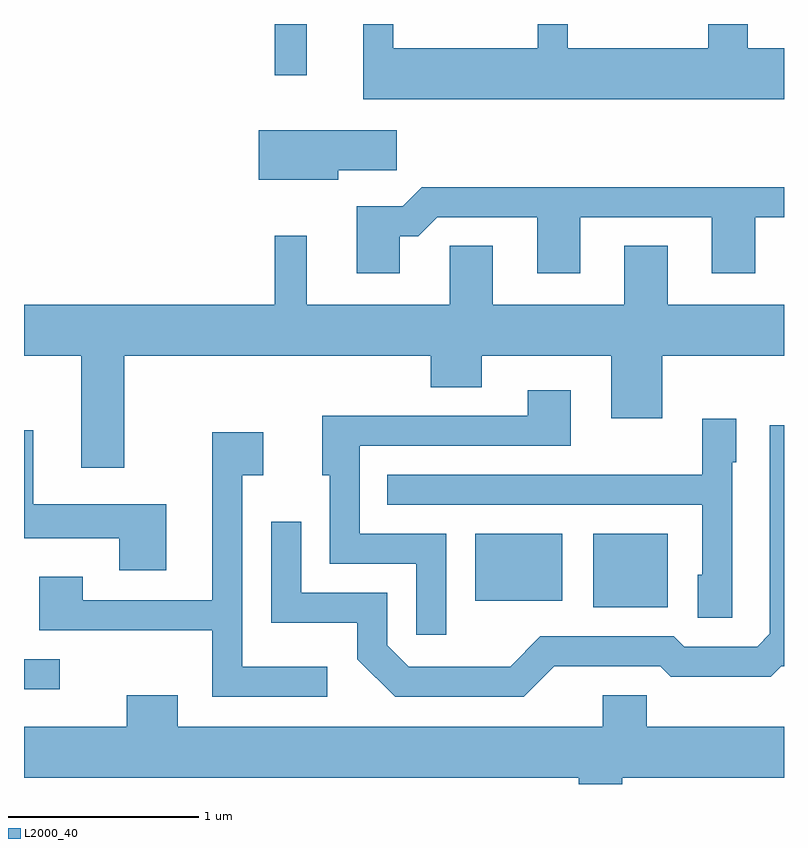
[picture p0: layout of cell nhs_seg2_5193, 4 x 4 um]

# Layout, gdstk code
import gdstk
lib = gdstk.Library(unit=1e-6, precision=1e-09)
def R(c, l, rs):  # rectangles x0, y0, x1, y1
    for r in rs: c.add(gdstk.rectangle(r[:2], r[2:], *l))
def P(c, l, *ps):  # polygons
    for p in ps: c.add(gdstk.Polygon(p, *l))
L2000_40 = (2000, 40)

nhs_seg2_5193 = lib.new_cell('nhs_seg2_5193')
R(nhs_seg2_5193, L2000_40, [(337.611,1084.301,337.798,1084.459), (340.606,1084.731,340.999,1085.119), (339.986,1084.766,340.444,1085.119), (338.931,1087.533,339.099,1087.802)])
P(nhs_seg2_5193, L2000_40, [(341.611,1087.674),(341.419,1087.674),(341.419,1087.802),(341.211,1087.802),(341.211,1087.674),(340.474,1087.674),(340.474,1087.802),(340.316,1087.802),(340.316,1087.674),(339.554,1087.674),(339.554,1087.802),(339.396,1087.802),(339.396,1087.406),(341.611,1087.406)],
  [(339.264,1087.031),(339.574,1087.031),(339.574,1087.244),(338.846,1087.244),(338.846,1086.981),(339.264,1086.981)],
  [(339.589,1086.686),(339.687,1086.686),(339.787,1086.786),(340.311,1086.786),(340.311,1086.491),(340.539,1086.491),(340.539,1086.786),(341.231,1086.786),(341.231,1086.491),(341.459,1086.491),(341.459,1086.786),(341.611,1086.786),(341.611,1086.944),(339.704,1086.944),(339.604,1086.844),(339.361,1086.844),(339.361,1086.491),(339.589,1086.491)],
  [(338.139,1086.056),(339.751,1086.056),(339.751,1085.891),(340.019,1085.891),(340.019,1086.056),(340.701,1086.056),(340.701,1085.726),(340.969,1085.726),(340.969,1086.056),(341.611,1086.056),(341.611,1086.324),(340.999,1086.324),(340.999,1086.634),(340.771,1086.634),(340.771,1086.324),(340.079,1086.324),(340.079,1086.634),(339.851,1086.634),(339.851,1086.324),(339.099,1086.324),(339.099,1086.688),(338.931,1086.688),(338.931,1086.324),(337.611,1086.324),(337.611,1086.056),(337.911,1086.056),(337.911,1085.466),(338.139,1085.466)],
  [(339.834,1085.119),(339.379,1085.119),(339.379,1085.581),(340.489,1085.581),(340.489,1085.874),(340.261,1085.874),(340.261,1085.739),(339.181,1085.739),(339.181,1085.426),(339.221,1085.426),(339.221,1084.961),(339.676,1084.961),(339.676,1084.588),(339.834,1084.588)],
  [(341.339,1085.496),(341.359,1085.496),(341.359,1085.724),(341.181,1085.724),(341.181,1085.429),(339.523,1085.429),(339.523,1085.271),(341.181,1085.271),(341.181,1084.904),(341.156,1084.904),(341.156,1084.676),(341.339,1084.676)],
  [(340.402,1084.421),(340.959,1084.421),(341.014,1084.366),(341.542,1084.366),(341.597,1084.421),(341.611,1084.421),(341.611,1085.689),(341.536,1085.689),(341.536,1084.592),(341.469,1084.524),(341.087,1084.524),(341.032,1084.579),(340.329,1084.579),(340.169,1084.419),(339.637,1084.419),(339.524,1084.532),(339.524,1084.809),(339.069,1084.809),(339.069,1085.183),(338.911,1085.183),(338.911,1084.651),(339.366,1084.651),(339.366,1084.459),(339.564,1084.261),(340.242,1084.261)],
  [(338.359,1085.274),(337.659,1085.274),(337.659,1085.663),(337.611,1085.663),(337.611,1085.096),(338.111,1085.096),(338.111,1084.926),(338.359,1084.926)],
  [(339.208,1084.419),(338.759,1084.419),(338.759,1085.426),(338.869,1085.426),(338.869,1085.654),(338.601,1085.654),(338.601,1084.769),(337.919,1084.769),(337.919,1084.894),(337.691,1084.894),(337.691,1084.611),(338.601,1084.611),(338.601,1084.261),(339.208,1084.261)],
  [(340.759,1083.836),(341.611,1083.836),(341.611,1084.104),(340.889,1084.104),(340.889,1084.269),(340.656,1084.269),(340.656,1084.104),(338.419,1084.104),(338.419,1084.269),(338.151,1084.269),(338.151,1084.104),(337.611,1084.104),(337.611,1083.836),(340.531,1083.836),(340.531,1083.802),(340.759,1083.802)])

lib.write_gds('nhs_seg2_5193.gds')
